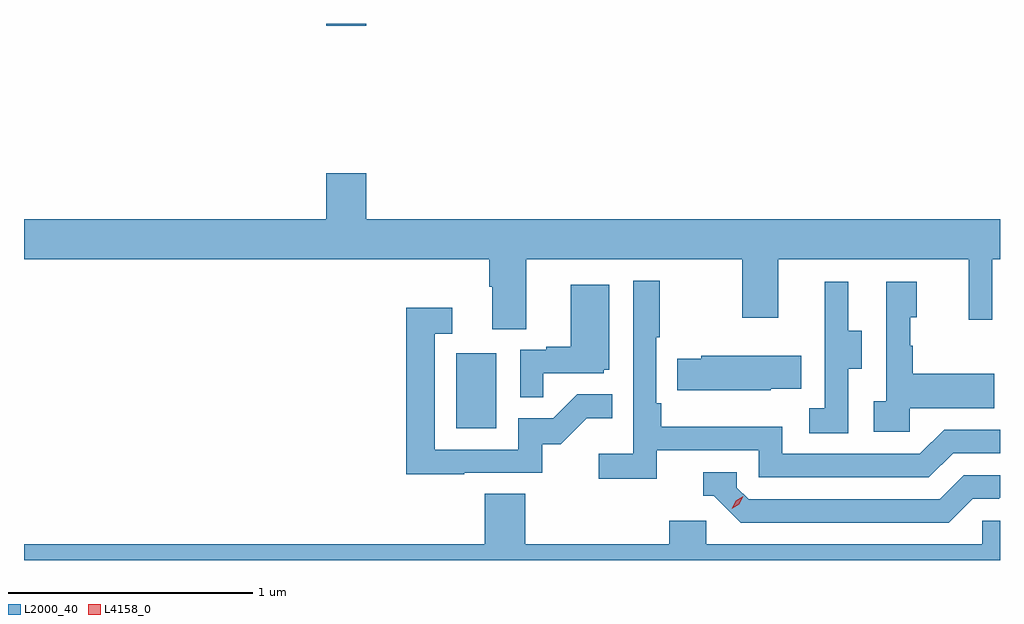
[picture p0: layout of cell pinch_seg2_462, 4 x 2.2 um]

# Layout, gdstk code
import gdstk
lib = gdstk.Library(unit=1e-6, precision=1e-09)
def R(c, l, rs):  # rectangles x0, y0, x1, y1
    for r in rs: c.add(gdstk.rectangle(r[:2], r[2:], *l))
def P(c, l, *ps):  # polygons
    for p in ps: c.add(gdstk.Polygon(p, *l))
L2000_40 = (2000, 40)
L4158_0 = (4158, 0)

pinch_seg2_462 = lib.new_cell('pinch_seg2_462')
R(pinch_seg2_462, L2000_40, [(920.786,584.34,920.95,584.647), (920.252,585.99,920.416,585.997)])
P(pinch_seg2_462, L2000_40, [(920.416,585.385),(920.252,585.385),(920.252,585.196),(919.014,585.196),(919.014,585.032),(920.921,585.032),(920.921,584.92),(920.933,584.92),(920.933,584.746),(921.073,584.746),(921.073,585.032),(921.958,585.032),(921.958,584.793),(922.105,584.793),(922.105,585.032),(922.886,585.032),(922.886,584.784),(922.983,584.784),(922.983,585.032),(923.014,585.032),(923.014,585.196),(920.416,585.196)],
  [(921.608,584.25),(922.026,584.25),(922.026,584.139),(922.723,584.139),(922.822,584.238),(923.014,584.238),(923.014,584.334),(922.785,584.334),(922.686,584.235),(922.122,584.235),(922.122,584.347),(921.626,584.347),(921.626,584.443),(921.606,584.443),(921.606,584.713),(921.619,584.713),(921.619,584.944),(921.51,584.944),(921.51,584.236),(921.369,584.236),(921.369,584.134),(921.608,584.134)],
  [(922.392,584.584),(922.447,584.584),(922.447,584.739),(922.393,584.739),(922.393,584.941),(922.295,584.941),(922.295,584.727),(922.296,584.727),(922.296,584.423),(922.233,584.423),(922.233,584.32),(922.392,584.32)],
  [(922.644,584.423),(922.991,584.423),(922.991,584.563),(922.657,584.563),(922.657,584.678),(922.647,584.678),(922.647,584.796),(922.672,584.796),(922.672,584.941),(922.548,584.941),(922.548,584.45),(922.497,584.45),(922.497,584.325),(922.644,584.325)],
  [(921.143,584.565),(921.39,584.565),(921.39,584.58),(921.412,584.58),(921.412,584.929),(921.254,584.929),(921.254,584.674),(921.155,584.674),(921.155,584.661),(921.048,584.661),(921.048,584.467),(921.143,584.467)],
  [(920.819,584.157),(921.138,584.157),(921.138,584.274),(921.214,584.274),(921.321,584.381),(921.425,584.381),(921.425,584.48),(921.281,584.48),(921.183,584.382),(921.039,584.382),(921.039,584.253),(920.697,584.253),(920.697,584.727),(920.77,584.727),(920.77,584.833),(920.581,584.833),(920.581,584.152),(920.819,584.152)],
  [(922.074,584.501),(922.199,584.501),(922.199,584.638),(921.789,584.638),(921.789,584.625),(921.691,584.625),(921.691,584.495),(922.074,584.495)],
  [(922.903,584.052),(923.01,584.052),(923.01,584.055),(923.014,584.055),(923.014,584.148),(922.866,584.148),(922.767,584.049),(921.984,584.049),(921.936,584.097),(921.936,584.16),(921.797,584.16),(921.797,584.064),(921.84,584.064),(921.951,583.953),(922.804,583.953)],
  [(923.014,583.962),(922.941,583.962),(922.941,583.864),(921.81,583.864),(921.81,583.962),(921.659,583.962),(921.659,583.864),(921.068,583.864),(921.068,584.072),(920.903,584.072),(920.903,583.864),(919.014,583.864),(919.014,583.8),(923.014,583.8)])
P(pinch_seg2_462, L4158_0, [(921.914,584.01),(921.914,584.01),(921.93,584.043),(921.961,584.062),(921.961,584.062),(921.961,584.062),(921.945,584.029),(921.914,584.01)])

lib.write_gds('pinch_seg2_462.gds')
